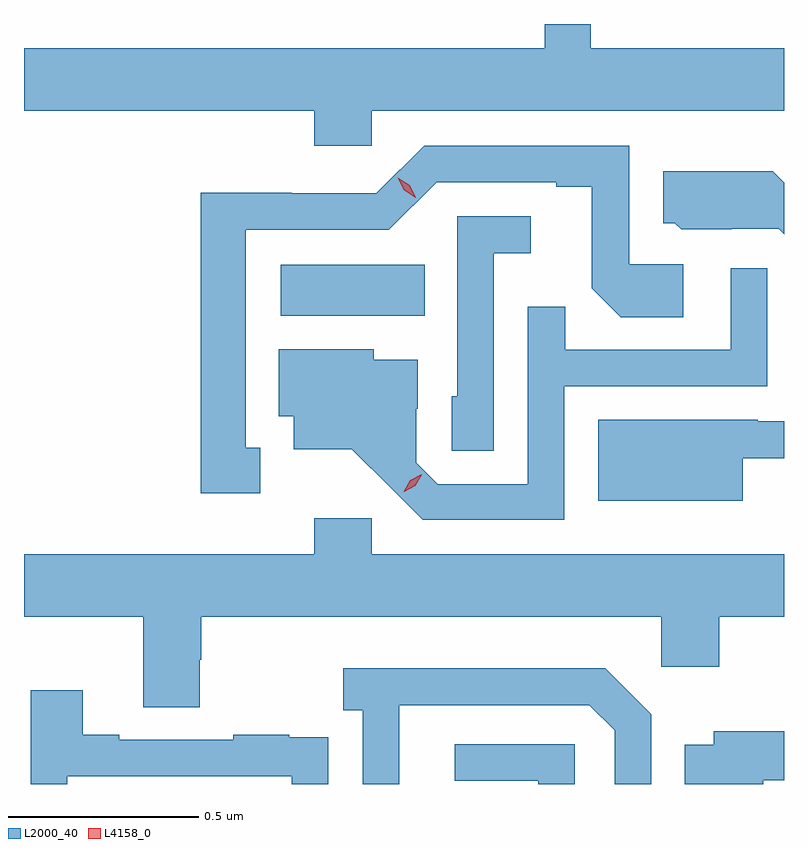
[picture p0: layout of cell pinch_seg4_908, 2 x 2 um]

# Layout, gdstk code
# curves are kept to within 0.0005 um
import gdstk
lib = gdstk.Library(unit=1e-6, precision=1e-09)
def R(c, l, rs):  # rectangles x0, y0, x1, y1
    for r in rs: c.add(gdstk.rectangle(r[:2], r[2:], *l))
def P(c, l, *ps):  # polygons
    for p in ps: c.add(gdstk.Polygon(p, *l))
L2000_40 = (2000, 40)
L4158_0 = (4158, 0)

pinch_seg4_908 = lib.new_cell('pinch_seg4_908')
R(pinch_seg4_908, L2000_40, [(730.116,829.58,730.496,829.714)])
P(pinch_seg4_908, L2000_40, [(730.356,830.12),(731.441,830.12),(731.441,830.284),(730.933,830.284),(730.933,830.348),(730.812,830.348),(730.812,830.284),(729.441,830.284),(729.441,830.12),(730.205,830.12),(730.205,830.027),(730.356,830.027)],
  [(730.063,829.233),(730.024,829.233),(730.024,829.806),(730.401,829.806),(730.527,829.932),(730.841,829.932),(730.841,829.92),(730.935,829.92),(730.935,829.652),(731.011,829.576),(731.176,829.576),(731.176,829.716),(731.034,829.716),(731.034,830.028),(730.494,830.028),(730.368,829.902),(730.146,829.902),(730.146,829.904),(729.906,829.904),(729.906,829.113),(730.063,829.113)],
  [(731.441,829.93),(731.411,829.96),(731.123,829.96),(731.123,829.824),(731.154,829.824),(731.17,829.808),(731.304,829.808),(731.304,829.809),(731.427,829.809),(731.441,829.795)],
  [(730.677,829.745),(730.774,829.745),(730.774,829.842),(730.581,829.842),(730.581,829.368),(730.566,829.368),(730.566,829.225),(730.677,829.225)],
  [(730.863,829.395),(731.397,829.395),(731.397,829.705),(731.301,829.705),(731.301,829.491),(730.865,829.491),(730.865,829.604),(730.767,829.604),(730.767,829.137),(730.53,829.137),(730.473,829.194),(730.473,829.336),(730.477,829.336),(730.477,829.465),(730.362,829.465),(730.362,829.492),(730.112,829.492),(730.112,829.316),(730.151,829.316),(730.151,829.229),(730.303,829.229),(730.49,829.044),(730.863,829.044)],
  [(731.332,829.205),(731.441,829.205),(731.441,829.302),(731.372,829.302),(731.372,829.306),(730.952,829.306),(730.952,829.094),(731.332,829.094)],
  [(729.903,828.675),(729.908,828.675),(729.908,828.788),(731.118,828.788),(731.118,828.657),(731.27,828.657),(731.27,828.788),(731.441,828.788),(731.441,828.952),(730.356,828.952),(730.356,829.048),(730.205,829.048),(730.205,828.952),(729.441,828.952),(729.441,828.788),(729.755,828.788),(729.755,828.55),(729.903,828.55)],
  [(730.428,828.355),(730.429,828.355),(730.429,828.555),(730.929,828.555),(730.995,828.489),(730.995,828.348),(731.091,828.348),(731.091,828.531),(730.97,828.652),(730.281,828.652),(730.281,828.542),(730.332,828.542),(730.332,828.348),(730.428,828.348)],
  [(729.555,828.369),(730.146,828.369),(730.146,828.348),(730.242,828.348),(730.242,828.362),(730.241,828.362),(730.241,828.471),(730.139,828.471),(730.139,828.478),(729.991,828.478),(729.991,828.465),(729.691,828.465),(729.691,828.478),(729.595,828.478),(729.595,828.595),(729.459,828.595),(729.459,828.348),(729.555,828.348)],
  [(731.387,828.358),(731.441,828.358),(731.441,828.487),(731.256,828.487),(731.256,828.451),(731.18,828.451),(731.18,828.348),(731.387,828.348)],
  [(730.89,828.453),(730.575,828.453),(730.575,828.357),(730.794,828.357),(730.794,828.348),(730.89,828.348)])
P(pinch_seg4_908, L4158_0, [(730.44,829.117),(730.44,829.117),(730.457,829.147),(730.488,829.163),(730.488,829.163),(730.488,829.162),(730.471,829.133),(730.441,829.117)],
  [(730.472,829.891),(730.441,829.91),(730.424,829.943),(730.424,829.944),(730.425,829.944),(730.456,829.924),(730.472,829.891),(730.472,829.891)])

lib.write_gds('pinch_seg4_908.gds')
